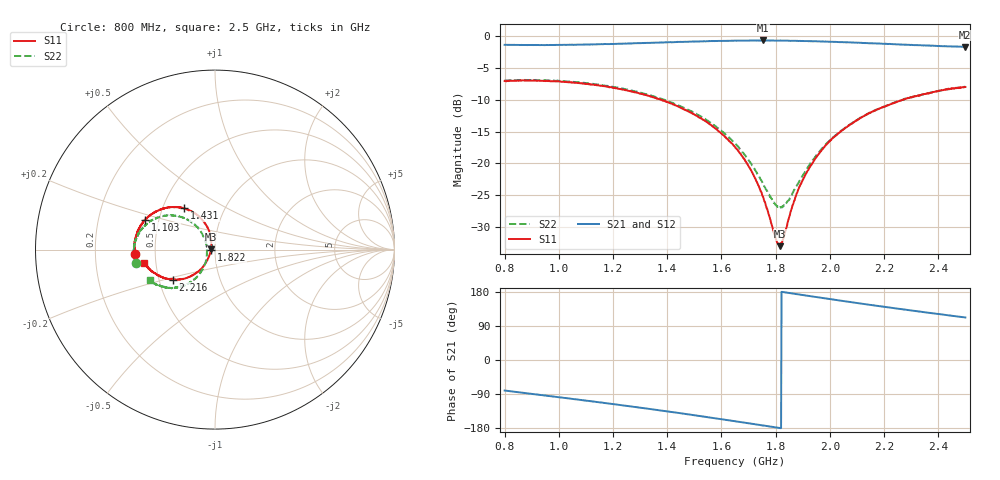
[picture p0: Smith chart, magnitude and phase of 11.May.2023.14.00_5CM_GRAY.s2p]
!Keysight Technologies N9950B: A.12.38
!Date: Thursday, 11 May 2023 14:33:04
!Timezone: (UTC-06:00) Central Time (US & Canada)
!Model: N9950B
!Serial: MY61131330
!GPS Latitude:
!GPS Longitude:
!GPS TimeStamp: 0001-01-01 00:00:00Z
!GPS Seconds Since Last Read: 0
!CHECKSUM:1624935736
!Correction: S11(ON U)S21(ON U)S12(ON U)S22(ON U)
!S2P File: Measurements:S11,S21,S12,S22:
# Hz S DB R 50
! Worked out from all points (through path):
!   1001 points, 800 MHz to 2.5 GHz, reference 50 ohm
!   highest |S21| = -0.64 dB at 1.752 GHz (marker M1); lowest = -1.6 dB at 2.498 GHz (marker M2)
!   group delay of S21, straight-line fit = 281 ps
!   lowest |S11| = -33.0 dB at 1.815 GHz (marker M3), VSWR 1.05, Z = 47.8 + j0.263 ohm
!   |S11| at or under -10 dB: 1.379 GHz to 2.268 GHz (889.7 MHz wide, 48.8 % of centre)
!   |S22| runs from -26.9 to -6.8 dB; largest |S21 - S12| = 0.006
!   S11 on the Smith chart (normalised r, x): 800 MHz: 0.38, -0.03; 1.103 GHz: 0.42, +0.17; 1.431 GHz: 0.64, +0.32; 1.822 GHz: 0.96, -0.01; 2.216 GHz: 0.59, -0.22; 2.5 GHz: 0.43, -0.07
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8e8  -7.02 -176.6  -1.32 -80.6  -1.34 -80.6  -6.96 -170.2
1.0839e9  -7.38 158.6  -1.29 -105.7  -1.30 -105.7  -7.30 167.3
1.1026e9  -7.49 156.8  -1.29 -107.5  -1.30 -107.3  -7.33 165.9
1.3678e9  -9.85 132.6  -0.97 -132.4  -0.99 -132.4  -9.64 144.6
1.4307e9  -10.86 126.7  -0.89 -138.6  -0.89 -138.7  -10.66 139.8
1.5514e9  -13.61 116.1  -0.73 -151.2  -0.76 -151.1  -13.33 131.5
1.65e9  -17.43 109.1  -0.68 -161.6  -0.68 -161.6  -16.87 128.0
1.7061e9  -20.85 107.7  -0.66 -167.6  -0.68 -167.5  -19.81 130.6
1.752e9  -25.16 113.5  -0.64 -172.7  -0.67 -172.6  -23.10 139.3
1.7996e9  -31.74 145.9  -0.67 -177.7  -0.67 -177.8  -26.50 166.0
1.8149e9  -33.04 172.9  -0.67 -179.4  -0.68 -179.4  -26.89 -179.5
1.8217e9  -32.82 -172.3  -0.66 179.9  -0.69 179.9  -26.87 -174.1
1.8421e9  -29.82 -145.3  -0.66 177.6  -0.70 177.7  -26.09 -154.7
1.8812e9  -24.39 -128.6  -0.70 173.4  -0.72 173.4  -23.26 -134.1
1.9339e9  -20.07 -124.5  -0.74 167.9  -0.78 167.8  -19.62 -124.0
1.99e9  -16.89 -126.5  -0.83 162.0  -0.84 161.9  -16.84 -122.3
2.0478e9  -14.72 -130.7  -0.90 155.8  -0.92 155.8  -14.67 -123.4
2.2161e9  -10.80 -144.6  -1.18 138.8  -1.20 138.8  -10.80 -133.8
2.2178e9  -10.79 -144.9  -1.19 138.7  -1.20 138.7  -10.83 -133.7
2.3555e9  -9.04 -157.0  -1.42 125.6  -1.44 125.5  -9.04 -144.0
2.4983e9  -7.96 -169.7  -1.65 112.4  -1.64 112.4  -7.94 -154.7
2.5e9  -7.97 -169.6  -1.64 112.3  -1.65 112.2  -7.93 -154.8
